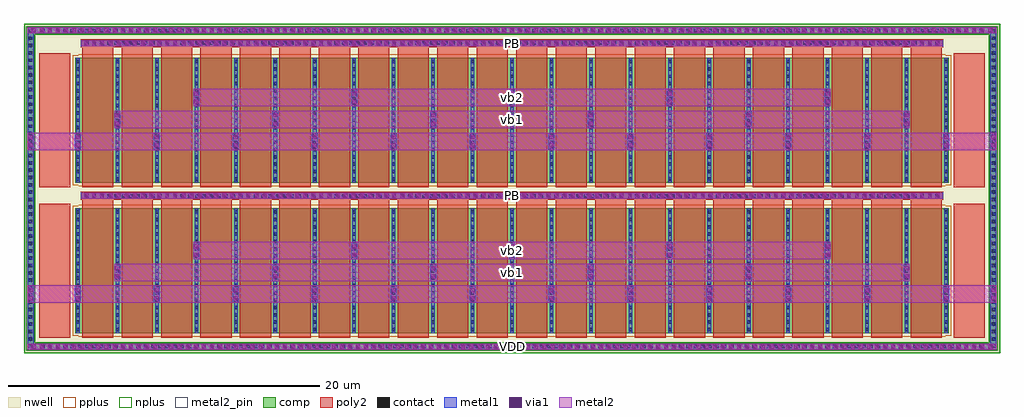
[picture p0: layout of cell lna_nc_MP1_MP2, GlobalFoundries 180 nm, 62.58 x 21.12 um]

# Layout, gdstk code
import gdstk
lib = gdstk.Library(unit=1e-6, precision=1e-09)
def R(c, l, rs):  # rectangles x0, y0, x1, y1
    for r in rs: c.add(gdstk.rectangle(r[:2], r[2:], *l))
def A(c, l, x, y, w, h, nx, ny, dx, dy):  # array of equal rectangles
    R(c, l, [(x+i*dx, y+j*dy, x+i*dx+w, y+j*dy+h) for i in range(nx) for j in range(ny)])
nwell = (21, 0)
comp = (22, 0)
poly2 = (30, 0)
pplus = (31, 0)
nplus = (32, 0)
contact = (33, 0)
metal1 = (34, 0)
via1 = (35, 0)
metal2 = (36, 0)
metal2_pin = (36, 10)

lna_nc_mp1_mp2 = lib.new_cell('lna_nc_MP1_MP2')
R(lna_nc_mp1_mp2, nwell, [(-3.24,-0.94,59.26,20.095)])
R(lna_nc_mp1_mp2, comp, [(-3.12,-0.82,59.14,-0.3), (-3.12,-0.3,-2.6,19.455), (58.62,-0.3,59.14,19.455), (0,0.3,56.02,8.3), (0,9.955,56.02,17.955), (-3.12,19.455,59.14,19.975)])
A(lna_nc_mp1_mp2, poly2, 0.445, 0, 2, 8.845, 22, 1, 2.53, 0)
A(lna_nc_mp1_mp2, poly2, 0.445, 9.655, 2, 8.99, 22, 1, 2.53, 0)
R(lna_nc_mp1_mp2, poly2, [(-2.3,0,-0.3,8.6), (56.32,0,58.32,8.6), (0.345,8.845,55.675,9.355), (-2.3,9.655,-0.3,18.255), (56.32,9.655,58.32,18.255), (0.345,18.645,55.675,19.155)])
R(lna_nc_mp1_mp2, pplus, [(0.215,0.07,55.805,0.14), (-0.16,0.14,56.18,8.46), (0.215,8.46,55.805,8.53), (0.215,9.725,55.805,9.795), (-0.16,9.795,56.18,18.115), (0.215,18.115,55.805,18.185)])
R(lna_nc_mp1_mp2, nplus, [(-3.28,-0.98,59.3,-0.27), (-3.28,-0.27,-2.57,19.425), (58.59,-0.27,59.3,19.425), (-3.28,19.425,59.3,20.135)])
A(lna_nc_mp1_mp2, contact, -2.18, -0.67, 0.22, 0.22, 129, 2, 0.47, 20.275)
A(lna_nc_mp1_mp2, contact, -2.97, -0.64, 0.22, 0.22, 1, 44, 0, 0.47)
A(lna_nc_mp1_mp2, contact, 58.77, -0.64, 0.22, 0.22, 1, 44, 0, 0.47)
A(lna_nc_mp1_mp2, contact, 0.07, 0.43, 0.22, 0.22, 23, 17, 2.53, 0.47)
A(lna_nc_mp1_mp2, contact, 0.64, 8.99, 0.22, 0.22, 117, 2, 0.47, 9.8)
A(lna_nc_mp1_mp2, contact, 0.07, 10.085, 0.22, 0.22, 23, 17, 2.53, 0.47)
A(lna_nc_mp1_mp2, metal1, 0.065, 0.31, 0.23, 1.93, 12, 1, 5.06, 0)
A(lna_nc_mp1_mp2, metal1, 2.595, 0.31, 0.23, 3.33, 6, 1, 10.12, 0)
A(lna_nc_mp1_mp2, metal1, 7.655, 0.31, 0.23, 4.73, 5, 1, 10.12, 0)
A(lna_nc_mp1_mp2, metal1, -0.01, 2.24, 0.38, 1.12, 12, 2, 5.06, 9.8)
A(lna_nc_mp1_mp2, metal1, 0.065, 3.36, 0.23, 4.93, 12, 1, 5.06, 0)
A(lna_nc_mp1_mp2, metal1, 2.52, 3.64, 0.38, 1.12, 6, 2, 10.12, 9.8)
A(lna_nc_mp1_mp2, metal1, 2.595, 4.76, 0.23, 3.53, 6, 1, 10.12, 0)
A(lna_nc_mp1_mp2, metal1, 7.58, 5.04, 0.38, 1.12, 5, 2, 10.12, 9.8)
A(lna_nc_mp1_mp2, metal1, 7.655, 6.16, 0.23, 2.13, 5, 1, 10.12, 0)
A(lna_nc_mp1_mp2, metal1, 0.065, 9.965, 0.23, 2.075, 12, 1, 5.06, 0)
A(lna_nc_mp1_mp2, metal1, 2.595, 9.965, 0.23, 3.475, 6, 1, 10.12, 0)
A(lna_nc_mp1_mp2, metal1, 7.655, 9.965, 0.23, 4.875, 5, 1, 10.12, 0)
A(lna_nc_mp1_mp2, metal1, 0.065, 13.16, 0.23, 4.785, 12, 1, 5.06, 0)
A(lna_nc_mp1_mp2, metal1, 2.595, 14.56, 0.23, 3.385, 6, 1, 10.12, 0)
A(lna_nc_mp1_mp2, metal1, 7.655, 15.96, 0.23, 1.985, 5, 1, 10.12, 0)
R(lna_nc_mp1_mp2, metal1, [(-3.055,-0.755,59.075,-0.365), (-3.055,-0.365,-2.665,19.52), (58.685,-0.365,59.075,19.52), (0.355,8.91,55.665,9.29), (0.355,18.71,55.665,19.09), (-3.055,19.52,59.075,19.91)])
A(lna_nc_mp1_mp2, via1, -2.8, -0.69, 0.26, 0.26, 119, 2, 0.52, 20.275)
A(lna_nc_mp1_mp2, via1, 0.05, 2.41, 0.26, 0.26, 12, 2, 5.06, 0.52)
A(lna_nc_mp1_mp2, via1, 2.58, 3.81, 0.26, 0.26, 6, 2, 10.12, 0.52)
A(lna_nc_mp1_mp2, via1, 7.64, 5.21, 0.26, 0.26, 5, 2, 10.12, 0.52)
A(lna_nc_mp1_mp2, via1, 0.58, 8.97, 0.26, 0.26, 106, 2, 0.52, 9.8)
A(lna_nc_mp1_mp2, via1, 0.05, 12.21, 0.26, 0.26, 12, 2, 5.06, 0.52)
A(lna_nc_mp1_mp2, via1, 2.58, 13.61, 0.26, 0.26, 6, 2, 10.12, 0.52)
A(lna_nc_mp1_mp2, via1, 7.64, 15.01, 0.26, 0.26, 5, 2, 10.12, 0.52)
R(lna_nc_mp1_mp2, via1, [(-2.99,2.41,-2.73,2.67), (58.75,2.41,59.01,2.67), (-2.99,2.93,-2.73,3.19), (58.75,2.93,59.01,3.19), (-2.99,12.21,-2.73,12.47), (58.75,12.21,59.01,12.47), (-2.99,12.73,-2.73,12.99), (58.75,12.73,59.01,12.99)])
R(lna_nc_mp1_mp2, metal2, [(-3.055,-0.755,59.075,-0.365), (-3.055,2.24,59.075,3.36), (2.52,3.64,53.5,4.76), (7.58,5.04,48.44,6.16), (0.41,8.91,55.61,9.29), (-3.055,12.04,59.075,13.16), (2.52,13.44,53.5,14.56), (7.58,14.84,48.44,15.96), (0.41,18.71,55.61,19.09), (-3.055,19.52,59.075,19.91)])
R(lna_nc_mp1_mp2, metal2_pin, [(-3.055,-0.755,59.075,-0.365), (2.52,3.64,53.5,4.76), (7.58,5.04,48.44,6.16), (0.41,8.91,55.61,9.29), (2.52,13.44,53.5,14.56), (7.58,14.84,48.44,15.96), (0.41,18.71,55.61,19.09)])
lna_nc_mp1_mp2.add(gdstk.Label('vb1', (28.01,14), layer=36, texttype=10))
lna_nc_mp1_mp2.add(gdstk.Label('vb1', (28.01,4.2), layer=36, texttype=10))
lna_nc_mp1_mp2.add(gdstk.Label('vb2', (28.01,15.4), layer=36, texttype=10))
lna_nc_mp1_mp2.add(gdstk.Label('vb2', (28.01,5.6), layer=36, texttype=10))
lna_nc_mp1_mp2.add(gdstk.Label('PB', (28.01,18.9), layer=36, texttype=10))
lna_nc_mp1_mp2.add(gdstk.Label('PB', (28.01,9.1), layer=36, texttype=10))
lna_nc_mp1_mp2.add(gdstk.Label('VDD', (28.01,-0.56), layer=36, texttype=10))

lib.write_gds('lna_nc_MP1_MP2.gds')
